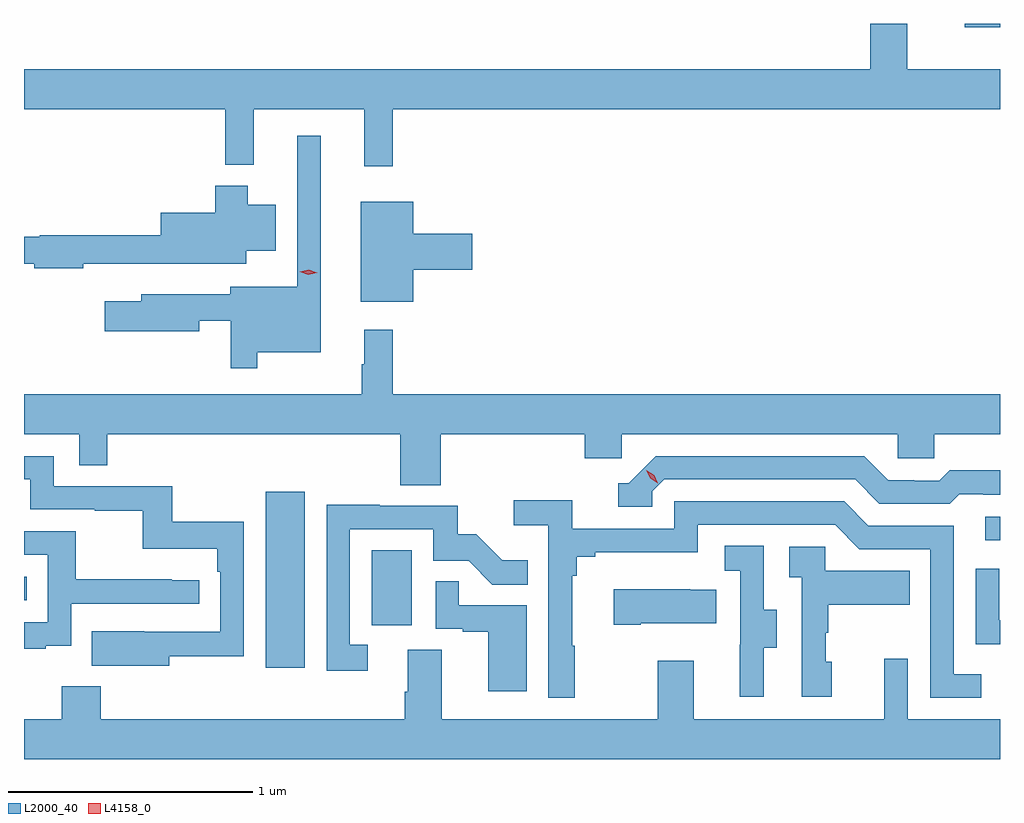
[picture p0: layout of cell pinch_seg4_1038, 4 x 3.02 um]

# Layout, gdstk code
import gdstk
lib = gdstk.Library(unit=1e-6, precision=1e-09)
def R(c, l, rs):  # rectangles x0, y0, x1, y1
    for r in rs: c.add(gdstk.rectangle(r[:2], r[2:], *l))
def P(c, l, *ps):  # polygons
    for p in ps: c.add(gdstk.Polygon(p, *l))
L2000_40 = (2000, 40)
L4158_0 = (4158, 0)

pinch_seg4_1038 = lib.new_cell('pinch_seg4_1038')
R(pinch_seg4_1038, L2000_40, [(885.497,753.24,885.658,753.961), (885.932,753.414,886.096,753.721), (884.507,753.516,884.519,753.612), (888.447,753.762,888.507,753.858), (888.362,755.864,888.507,755.879)])
P(pinch_seg4_1038, L2000_40, [(884.507,755.528),(885.331,755.528),(885.331,755.3),(885.449,755.3),(885.449,755.528),(885.902,755.528),(885.902,755.295),(886.019,755.295),(886.019,755.528),(888.507,755.528),(888.507,755.692),(888.127,755.692),(888.127,755.879),(887.975,755.879),(887.975,755.692),(884.507,755.692)],
  [(885.463,754.532),(885.724,754.532),(885.724,755.419),(885.627,755.419),(885.627,754.801),(885.353,754.801),(885.353,754.77),(884.987,754.77),(884.987,754.741),(884.838,754.741),(884.838,754.619),(885.226,754.619),(885.226,754.662),(885.354,754.662),(885.354,754.467),(885.463,754.467)],
  [(884.75,754.896),(885.172,754.896),(885.172,754.895),(885.418,754.895),(885.418,754.949),(885.538,754.949),(885.538,755.137),(885.424,755.137),(885.424,755.215),(885.29,755.215),(885.29,755.104),(885.068,755.104),(885.068,755.012),(884.572,755.012),(884.572,755.005),(884.507,755.005),(884.507,754.895),(884.548,754.895),(884.548,754.876),(884.75,754.876)],
  [(886.102,754.871),(886.345,754.871),(886.345,755.018),(886.102,755.018),(886.102,755.149),(885.887,755.149),(885.887,754.739),(886.102,754.739)],
  [(886.214,754.196),(886.805,754.196),(886.805,754.098),(886.956,754.098),(886.956,754.196),(888.087,754.196),(888.087,754.098),(888.237,754.098),(888.237,754.196),(888.507,754.196),(888.507,754.36),(886.019,754.36),(886.019,754.624),(885.902,754.624),(885.902,754.484),(885.891,754.484),(885.891,754.36),(884.507,754.36),(884.507,754.196),(884.733,754.196),(884.733,754.069),(884.849,754.069),(884.849,754.196),(886.049,754.196),(886.049,753.988),(886.214,753.988)],
  [(885.103,753.286),(885.408,753.286),(885.408,753.838),(885.115,753.838),(885.115,753.984),(884.628,753.984),(884.628,754.107),(884.507,754.107),(884.507,754.011),(884.532,754.011),(884.532,753.888),(884.797,753.888),(884.797,753.883),(884.994,753.883),(884.994,753.728),(885.299,753.728),(885.299,753.632),(885.312,753.632),(885.312,753.387),(884.999,753.387),(884.999,753.388),(884.785,753.388),(884.785,753.248),(885.103,753.248)],
  [(887.082,753.963),(887.13,754.011),(887.913,754.011),(888.012,753.912),(888.301,753.912),(888.34,753.951),(888.439,753.951),(888.439,753.948),(888.507,753.948),(888.507,754.048),(888.301,754.048),(888.259,754.005),(888.156,754.005),(888.156,754.008),(888.049,754.008),(887.95,754.107),(887.097,754.107),(886.986,753.996),(886.943,753.996),(886.943,753.9),(887.082,753.9)],
  [(886.765,753.329),(886.753,753.329),(886.753,753.617),(886.772,753.617),(886.772,753.694),(886.849,753.694),(886.849,753.713),(887.268,753.713),(887.268,753.825),(887.832,753.825),(887.931,753.726),(888.222,753.726),(888.222,753.117),(888.431,753.117),(888.431,753.213),(888.318,753.213),(888.318,753.822),(887.968,753.822),(887.869,753.921),(887.172,753.921),(887.172,753.81),(886.754,753.81),(886.754,753.926),(886.515,753.926),(886.515,753.824),(886.656,753.824),(886.656,753.117),(886.765,753.117)],
  [(885.916,753.333),(885.843,753.333),(885.843,753.807),(886.185,753.807),(886.185,753.678),(886.329,753.678),(886.427,753.58),(886.571,753.58),(886.571,753.679),(886.467,753.679),(886.36,753.786),(886.284,753.786),(886.284,753.903),(885.965,753.903),(885.965,753.908),(885.747,753.908),(885.747,753.228),(885.916,753.228)],
  [(884.597,753.329),(884.7,753.329),(884.7,753.501),(885.226,753.501),(885.226,753.597),(885.113,753.597),(885.113,753.602),(884.72,753.602),(884.72,753.798),(884.507,753.798),(884.507,753.702),(884.604,753.702),(884.604,753.426),(884.507,753.426),(884.507,753.318),(884.597,753.318)],
  [(887.539,753.322),(887.593,753.322),(887.593,753.477),(887.538,753.477),(887.538,753.74),(887.379,753.74),(887.379,753.637),(887.442,753.637),(887.442,753.333),(887.441,753.333),(887.441,753.12),(887.539,753.12)],
  [(887.818,753.264),(887.793,753.264),(887.793,753.383),(887.803,753.383),(887.803,753.497),(888.137,753.497),(888.137,753.637),(887.79,753.637),(887.79,753.735),(887.643,753.735),(887.643,753.611),(887.694,753.611),(887.694,753.12),(887.818,753.12)],
  [(888.507,753.434),(888.504,753.434),(888.504,753.646),(888.408,753.646),(888.408,753.336),(888.507,753.336)],
  [(886.567,753.495),(886.289,753.495),(886.289,753.593),(886.194,753.593),(886.194,753.399),(886.305,753.399),(886.305,753.387),(886.409,753.387),(886.409,753.144),(886.567,753.144)],
  [(887.035,753.422),(887.345,753.422),(887.345,753.559),(887.237,753.559),(887.237,753.562),(886.923,753.562),(886.923,753.415),(887.035,753.415)],
  [(888.507,753.028),(888.129,753.028),(888.129,753.277),(888.032,753.277),(888.032,753.028),(887.251,753.028),(887.251,753.268),(887.104,753.268),(887.104,753.028),(886.219,753.028),(886.219,753.314),(886.079,753.314),(886.079,753.14),(886.067,753.14),(886.067,753.028),(884.822,753.028),(884.822,753.163),(884.662,753.163),(884.662,753.028),(884.507,753.028),(884.507,752.864),(888.507,752.864)])
P(pinch_seg4_1038, L4158_0, [(885.672,754.85),(885.637,754.862),(885.637,754.863),(885.637,754.863),(885.673,754.87),(885.708,754.859),(885.708,754.858),(885.708,754.858)],
  [(887.104,753.995),(887.074,754.015),(887.057,754.048),(887.057,754.048),(887.058,754.048),(887.089,754.028),(887.105,753.996),(887.105,753.995)])

lib.write_gds('pinch_seg4_1038.gds')
